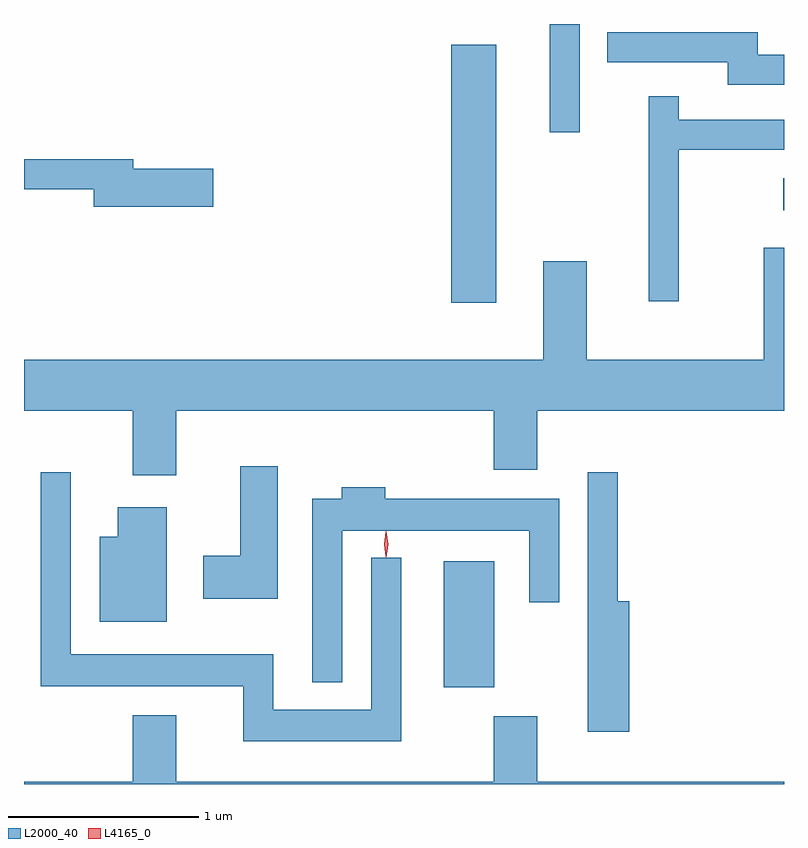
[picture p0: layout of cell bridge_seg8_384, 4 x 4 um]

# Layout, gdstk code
import gdstk
lib = gdstk.Library(unit=1e-6, precision=1e-09)
def R(c, l, rs):  # rectangles x0, y0, x1, y1
    for r in rs: c.add(gdstk.rectangle(r[:2], r[2:], *l))
def P(c, l, *ps):  # polygons
    for p in ps: c.add(gdstk.Polygon(p, *l))
L2000_40 = (2000, 40)
L4165_0 = (4165, 0)

bridge_seg8_384 = lib.new_cell('bridge_seg8_384')
R(bridge_seg8_384, L2000_40, [(685.526,1923.761,685.794,1924.424), (685.566,1925.786,685.804,1927.144), (687.313,1926.271,687.318,1926.439), (686.086,1926.683,686.244,1927.252)])
P(bridge_seg8_384, L2000_40, [(687.318,1927.089),(687.179,1927.089),(687.179,1927.209),(686.388,1927.209),(686.388,1927.051),(687.021,1927.051),(687.021,1926.931),(687.318,1926.931)],
  [(686.764,1926.591),(687.318,1926.591),(687.318,1926.749),(686.764,1926.749),(686.764,1926.873),(686.606,1926.873),(686.606,1925.793),(686.764,1925.793)],
  [(684.314,1926.489),(683.894,1926.489),(683.894,1926.539),(683.318,1926.539),(683.318,1926.381),(683.686,1926.381),(683.686,1926.291),(684.314,1926.291)],
  [(683.318,1925.216),(683.891,1925.216),(683.891,1924.876),(684.119,1924.876),(684.119,1925.216),(685.791,1925.216),(685.791,1924.906),(686.019,1924.906),(686.019,1925.216),(687.318,1925.216),(687.318,1926.074),(687.211,1926.074),(687.211,1925.484),(686.279,1925.484),(686.279,1926.004),(686.051,1926.004),(686.051,1925.484),(683.318,1925.484)],
  [(684.654,1924.924),(684.456,1924.924),(684.456,1924.454),(684.261,1924.454),(684.261,1924.226),(684.654,1924.226)],
  [(686.504,1924.214),(686.444,1924.214),(686.444,1924.893),(686.286,1924.893),(686.286,1923.526),(686.504,1923.526)],
  [(685.304,1924.443),(685.146,1924.443),(685.146,1923.644),(684.629,1923.644),(684.629,1923.934),(683.564,1923.934),(683.564,1924.893),(683.406,1924.893),(683.406,1923.766),(684.471,1923.766),(684.471,1923.476),(685.304,1923.476)],
  [(684.994,1924.586),(685.976,1924.586),(685.976,1924.208),(686.134,1924.208),(686.134,1924.754),(685.219,1924.754),(685.219,1924.814),(684.991,1924.814),(684.991,1924.754),(684.836,1924.754),(684.836,1923.788),(684.994,1923.788)],
  [(684.069,1924.709),(683.811,1924.709),(683.811,1924.554),(683.716,1924.554),(683.716,1924.106),(684.069,1924.106)],
  [(687.318,1923.264),(686.019,1923.264),(686.019,1923.609),(685.791,1923.609),(685.791,1923.264),(684.119,1923.264),(684.119,1923.614),(683.891,1923.614),(683.891,1923.264),(683.318,1923.264),(683.318,1923.252),(687.318,1923.252)])
P(bridge_seg8_384, L4165_0, [(685.224,1924.444),(685.224,1924.444),(685.214,1924.513),(685.224,1924.582),(685.224,1924.583),(685.225,1924.582),(685.234,1924.513),(685.225,1924.444)],
  [(685.223,1924.447),(685.214,1924.514),(685.223,1924.58),(685.223,1924.58),(685.224,1924.58),(685.234,1924.514),(685.224,1924.447),(685.224,1924.447)])

lib.write_gds('bridge_seg8_384.gds')
